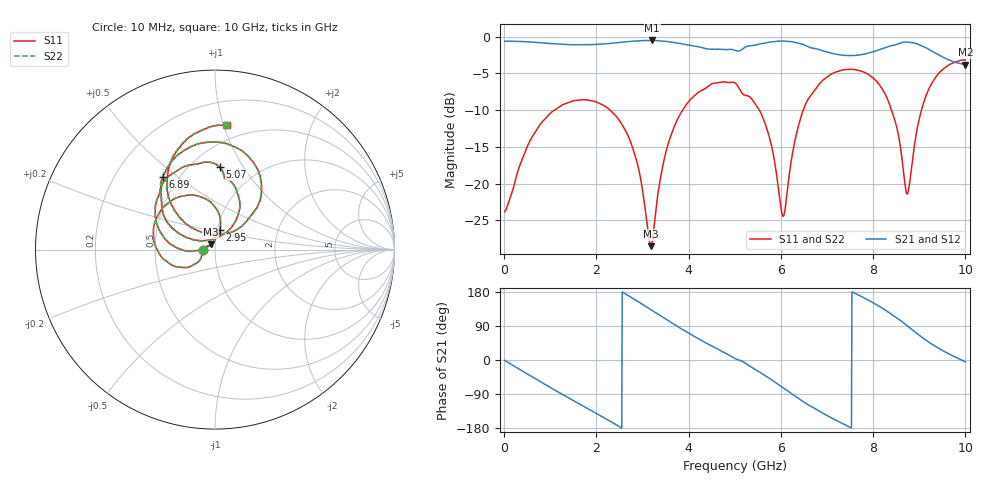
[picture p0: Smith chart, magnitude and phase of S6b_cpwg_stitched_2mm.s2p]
! kicad_em_sim: S-parameters of 2 ports, openEMS
# Hz S RI R 50
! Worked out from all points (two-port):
!   1000 points, 10 MHz to 10 GHz, reference 50 ohm
!   highest |S21| = -0.50 dB at 3.21 GHz (marker M1); lowest = -3.8 dB at 10 GHz (marker M2)
!   |S21| within 3 dB of the highest: start of sweep to 9.789 GHz
!   lowest |S11| = -28.5 dB at 3.18 GHz (marker M3), VSWR 1.08, Z = 47.6 + j2.73 ohm
!   |S11| at or under -10 dB: start of sweep to 1.088 GHz; 2.296 GHz to 3.87 GHz (1.573 GHz wide, 51 % of centre); 5.533 GHz to 6.484 GHz (951.5 MHz wide, 15.8 % of centre)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
!   |S22| runs from -28.7 to -3.1 dB; largest |S21 - S12| = 0.0016
!   S11 on the Smith chart (normalised r, x): 10 MHz: 0.88, -0.01; 2.95 GHz: 1.03, +0.23; 5.07 GHz: 0.68, +0.79; 6.89 GHz: 0.41, +0.44; 10 GHz: 0.38, +1.02
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1e7  -0.0643 -0.00295  0.9328 -0.0118  0.9327 -0.0118  -0.0643 -0.00295
8.8e8  -0.2656 -0.0689  0.3955 -0.8152  0.3955 -0.8152  -0.2654 -0.0693
1.68e9  -0.3112 0.204  -0.4296 -0.769  -0.4297 -0.7689  -0.3119 0.203
2.37e9  -0.0732 0.2917  -0.8812 -0.2081  -0.881 -0.2081  -0.0742 0.2916
2.95e9  0.0272 0.1083  -0.8192 0.4609  -0.8191 0.4608  0.0274 0.1084
3.18e9  -0.0242 0.0287  -0.6424 0.6909  -0.6423 0.6907  -0.0236 0.0283
3.21e9  -0.0345 0.0204  -0.6138 0.7166  -0.6137 0.7164  -0.0339 0.0199
3.34e9  -0.0876 -0.00268  -0.4757 0.8098  -0.4756 0.8097  -0.0869 -0.00363
3.94e9  -0.3178 0.1253  0.2253 0.8566  0.2254 0.8564  -0.3185 0.1228
4.38e9  -0.304 0.3294  0.5902 0.5826  0.59 0.5823  -0.3061 0.3273
5.01e9  -0.0156 0.4839  0.8055 0.0482  0.805 0.0481  -0.0181 0.484
5.07e9  0.0276 0.4587  0.7985 0.00874  0.7979 0.00869  0.0252 0.4589
5.65e9  0.1364 0.2219  0.6886 -0.5871  0.6881 -0.5866  0.1361 0.2226
6.05e9  -0.0164 0.0576  0.267 -0.8956  0.2669 -0.895  -0.0159 0.0564
6.35e9  -0.206 0.0945  -0.1378 -0.8982  -0.1377 -0.8976  -0.2064 0.0918
6.67e9  -0.2973 0.2775  -0.46 -0.7012  -0.4598 -0.7006  -0.2995 0.2744
6.89e9  -0.2901 0.4061  -0.6094 -0.5269  -0.609 -0.5262  -0.2936 0.4034
7.61e9  0.0406 0.5958  -0.7442 0.0549  -0.743 0.0549  0.0361 0.5964
8.34e9  0.2455 0.2585  -0.4992 0.7007  -0.4985 0.6993  0.2444 0.2606
8.74e9  0.00139 0.0849  0.00321 0.9195  0.00295 0.9181  0.00168 0.0845
9.2e9  -0.2669 0.3449  0.5553 0.6084  0.5545 0.6074  -0.2695 0.3423
1e10  0.0653 0.6925  0.6441 -0.0534  0.6425 -0.0535  0.0594 0.6933
